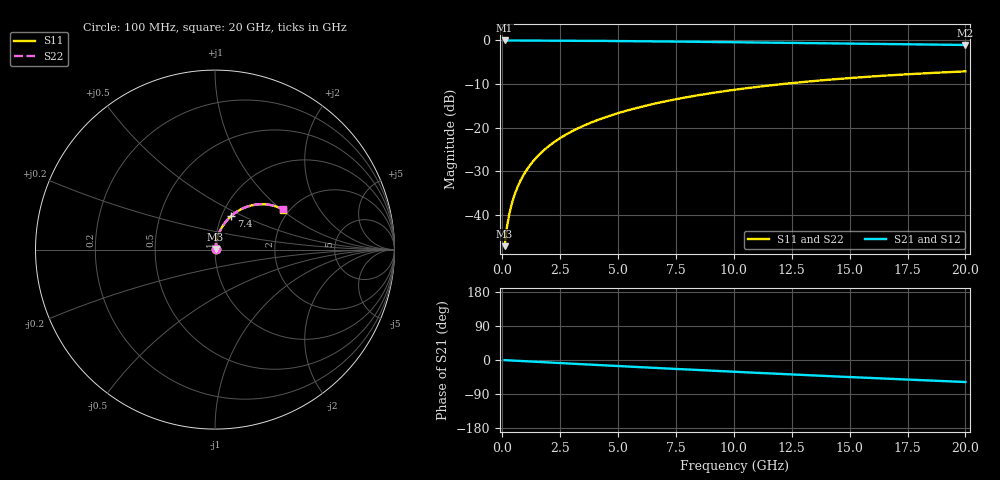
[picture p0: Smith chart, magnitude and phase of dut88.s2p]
! Touchstone file exported from HFSS 2026.1.0
!  File:  C:/ffzhzh/LocalFiles/Ansys_Project_Files/temp_train_TMRDL_88_1782881493_43084.aedt
!  Generated:  12:52:57 PM Jul  1, 2026
!  Design:  TMRDL
!  Project:  temp_train_TMRDL_88_1782881493_43084
! Variables:
!  h_bsmrdl = 2um
!  h_ox = 20um
!  h_rdl = 5um
!  h_sub = 80um
!  h_tmrdl = 5.32um
!  h_tsv = 80um
!  h_via = 3um
!  l_bsmrdl = 300um
!  l_sub = 1331.8um
!  l_tmrdl = 931.8um
!  m_sub = 200um
!  pitch = 50.79um
!  r_tsv = 6um
!  s_tmrdl = 10um
!  w_bsmrdl = 18um
!  w_sub = 500um
!  w_tmrdl = 24.17um
!  x_tsv_center1 = 943.885um
!  x_tsv_center2 = 1261.885um
!  x_tsv_center3 = 2217.855um
!  x_tsv_center4 = 2535.855um
!  x_tsv_center5 = 3491.825um
!  x_tsv_center6 = 3809.825um
# GHz S MA R 50.000000
! Terminal data exported
! Port[1] = TM_RDL1_1_T1
! Port[2] = TM_RDL1_1_T2
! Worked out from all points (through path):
!   200 points, 100 MHz to 20 GHz, reference 50 ohm
!   highest |S21| = -0.02 dB at 100 MHz (marker M1); lowest = -1.1 dB at 20 GHz (marker M2)
!   group delay of S21, straight-line fit = 8.06 ps
!   lowest |S11| = -47.2 dB at 100 MHz (marker M3), VSWR 1.01, Z = 50.3 + j0.336 ohm
!   |S11| at or under -10 dB: start of sweep to 12.15 GHz
!   |S22| runs from -47.2 to -7.1 dB; largest |S21 - S12| = 3.5e-15
!   S11 on the Smith chart (normalised r, x): 100 MHz: 1.01, +0.01; 7.4 GHz: 1.11, +0.44; 20 GHz: 1.86, +1.03
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0.1  0.004356 50.1  0.9972 -0.3  0.9972 -0.3  0.004356 50.1
! Gamma 0 0 0 0
! Port Impedance 50 0 50 0
0.2  0.007189 64.7  0.997 -0.7  0.997 -0.7  0.007189 64.7
0.3  0.01011 70.7  0.9968 -1.0  0.9968 -1.0  0.01011 70.8
0.4  0.01305 74.1  0.9966 -1.3  0.9966 -1.3  0.01305 74.1
0.5  0.01602 76.2  0.9965 -1.7  0.9965 -1.7  0.01602 76.2
0.7  0.022 78.5  0.9963 -2.3  0.9963 -2.3  0.022 78.5
0.8  0.025 79.1  0.9961 -2.6  0.9961 -2.6  0.025 79.2
1  0.03103 79.9  0.9958 -3.3  0.9958 -3.3  0.03103 79.9
1.2  0.03706 80.1  0.9955 -3.9  0.9955 -3.9  0.03706 80.1
1.4  0.04308 80.1  0.9951 -4.6  0.9951 -4.6  0.04308 80.1
1.7  0.05207 79.7  0.9944 -5.5  0.9944 -5.5  0.05207 79.8
2  0.061 79.2  0.9936 -6.5  0.9936 -6.5  0.061 79.2
2.7  0.08157 77.5  0.9914 -8.7  0.9914 -8.7  0.08157 77.5
3.5  0.1046 75.3  0.9884 -11.3  0.9884 -11.3  0.1046 75.3
4.2  0.1242 73.3  0.9854 -13.5  0.9854 -13.5  0.1242 73.4
5  0.1462 71.0  0.9816 -16.0  0.9816 -16.0  0.1462 71.1
6.8  0.1936 65.8  0.9721 -21.5  0.9721 -21.5  0.1936 65.9
7.4  0.2087 64.1  0.9686 -23.3  0.9686 -23.3  0.2087 64.2
10.1  0.2727 56.5  0.9515 -31.3  0.9515 -31.3  0.2727 56.5
13.4  0.3406 47.4  0.9287 -40.6  0.9287 -40.6  0.3406 47.5
16.7  0.3966 38.7  0.9059 -49.6  0.9059 -49.6  0.3966 38.8
20  0.4408 30.4  0.8853 -58.1  0.8853 -58.1  0.4408 30.5
